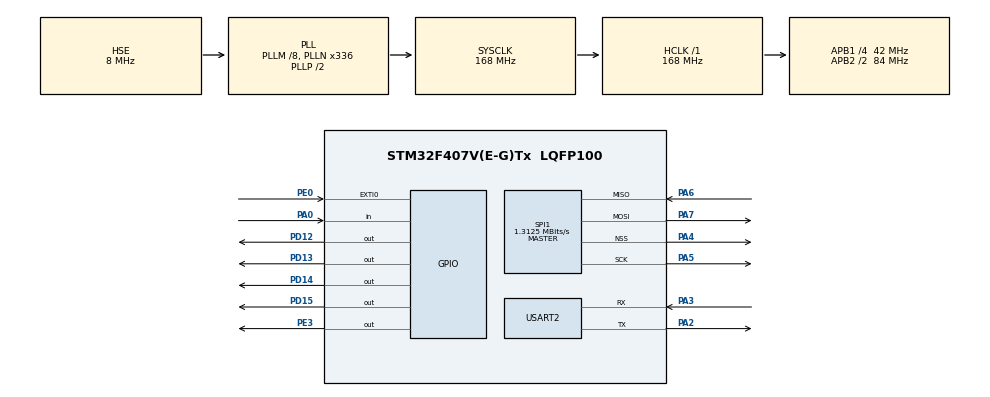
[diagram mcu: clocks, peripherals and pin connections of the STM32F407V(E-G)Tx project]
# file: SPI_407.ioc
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Dma.Request0=SPI1_RX
Dma.Request1=SPI1_TX
Dma.SPI1_RX.0.Direction=DMA_PERIPH_TO_MEMORY
Dma.SPI1_RX.0.FIFOMode=DMA_FIFOMODE_DISABLE
Dma.SPI1_RX.0.Instance=DMA2_Stream0
Dma.SPI1_RX.0.MemDataAlignment=DMA_MDATAALIGN_BYTE
Dma.SPI1_RX.0.MemInc=DMA_MINC_ENABLE
Dma.SPI1_RX.0.Mode=DMA_NORMAL
Dma.SPI1_RX.0.PeriphDataAlignment=DMA_PDATAALIGN_BYTE
Dma.SPI1_RX.0.PeriphInc=DMA_PINC_DISABLE
Dma.SPI1_RX.0.Priority=DMA_PRIORITY_LOW
Dma.SPI1_TX.1.Direction=DMA_MEMORY_TO_PERIPH
Dma.SPI1_TX.1.FIFOMode=DMA_FIFOMODE_DISABLE
Dma.SPI1_TX.1.Instance=DMA2_Stream3
Dma.SPI1_TX.1.MemDataAlignment=DMA_MDATAALIGN_BYTE
Dma.SPI1_TX.1.MemInc=DMA_MINC_ENABLE
Dma.SPI1_TX.1.Mode=DMA_NORMAL
Dma.SPI1_TX.1.PeriphDataAlignment=DMA_PDATAALIGN_BYTE
Dma.SPI1_TX.1.PeriphInc=DMA_PINC_DISABLE
Dma.SPI1_TX.1.Priority=DMA_PRIORITY_LOW
Mcu.Family=STM32F4
Mcu.Name=STM32F407V(E-G)Tx
Mcu.Package=LQFP100
NVIC.DMA2_Stream0_IRQn=true\:0\:0\:false\:false\:true\:false\:true
NVIC.DMA2_Stream3_IRQn=true\:0\:0\:false\:false\:true\:false\:true
NVIC.EXTI0_IRQn=true\:0\:0\:false\:false\:true\:true\:true
NVIC.PriorityGroup=NVIC_PRIORITYGROUP_0
NVIC.SPI1_IRQn=true\:0\:0\:false\:false\:true\:true\:true
NVIC.TIM1_UP_TIM10_IRQn=true\:0\:0\:false\:false\:true\:false\:true
NVIC.TIM6_DAC_IRQn=true\:0\:0\:false\:false\:true\:true\:true
NVIC.TimeBase=TIM1_UP_TIM10_IRQn
NVIC.TimeBaseIP=TIM1
PA0-WKUP.Signal=GPIO_Input
PA13.Mode=Serial_Wire
PA13.Signal=SYS_JTMS-SWDIO
PA14.Mode=Serial_Wire
PA14.Signal=SYS_JTCK-SWCLK
PA2.Mode=Asynchronous
PA2.Signal=USART2_TX
PA3.Mode=Asynchronous
PA3.Signal=USART2_RX
PA4.Mode=NSS_Signal_Hard_Output
PA4.Signal=SPI1_NSS
PA5.Mode=Full_Duplex_Master
PA5.Signal=SPI1_SCK
PA6.Mode=Full_Duplex_Master
PA6.Signal=SPI1_MISO
PA7.Mode=Full_Duplex_Master
PA7.Signal=SPI1_MOSI
PD12.Signal=GPIO_Output
PD13.Signal=GPIO_Output
PD14.Signal=GPIO_Output
PD15.Signal=GPIO_Output
PE0.Signal=GPXTI0
PE3.PinState=GPIO_PIN_SET
PE3.Signal=GPIO_Output
PH0-OSC_IN.Mode=HSE-External-Clock-Source
PH0-OSC_IN.Signal=RCC_OSC_IN
PH1-OSC_OUT.Mode=HSE-External-Clock-Source
PH1-OSC_OUT.Signal=RCC_OSC_OUT
ProjectManager.HeapSize=0x200
ProjectManager.StackSize=0x400
ProjectManager.TargetToolchain=STM32CubeIDE
RCC.48MHZClocksFreq_Value=48000000
RCC.AHBFreq_Value=168000000
RCC.APB1CLKDivider=RCC_HCLK_DIV4
RCC.APB1Freq_Value=42000000
RCC.APB1TimFreq_Value=84000000
RCC.APB2CLKDivider=RCC_HCLK_DIV2
RCC.APB2Freq_Value=84000000
RCC.APB2TimFreq_Value=168000000
RCC.CortexFreq_Value=168000000
RCC.HCLKFreq_Value=168000000
RCC.HSE_VALUE=8000000
RCC.HSI_VALUE=16000000
RCC.LSE_VALUE=32768
RCC.PLLM=8
RCC.PLLN=336
RCC.PLLQ=7
RCC.PLLSourceVirtual=RCC_PLLSOURCE_HSE
RCC.SYSCLKFreq_VALUE=168000000
RCC.SYSCLKSource=RCC_SYSCLKSOURCE_PLLCLK
RCC.VCOOutputFreq_Value=336000000
SPI1.BaudRatePrescaler=SPI_BAUDRATEPRESCALER_64
SPI1.CalculateBaudRate=1.3125 MBits/s
SPI1.Direction=SPI_DIRECTION_2LINES
SPI1.Mode=SPI_MODE_MASTER
SPI1.VirtualNSS=VM_NSSHARD
SPI1.VirtualType=VM_MASTER
TIM6.AutoReloadPreload=TIM_AUTORELOAD_PRELOAD_ENABLE
TIM6.Prescaler=84
USART2.VirtualMode=VM_ASYNC
VP_SYS_VS_tim1.Mode=TIM1
VP_TIM6_VS_ClockSourceINT.Mode=Enable_Timer
board=STM32F407G-DISC1

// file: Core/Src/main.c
/* USER CODE BEGIN Header */
/**
  ******************************************************************************
  * @file           : main.c
  * @brief          : Main program body
  ******************************************************************************
  * @attention
  *
  * <h2><center>&copy; Copyright (c) 2022 STMicroelectronics.
  * All rights reserved.</center></h2>
  *
  * This software component is licensed by ST under Ultimate Liberty license
  * SLA0044, the "License"; You may not use this file except in compliance with
  * the License. You may obtain a copy of the License at:
  *                             www.st.com/SLA0044
  *
  ******************************************************************************
  */
/* USER CODE END Header */
#include "main.h"

/* USER CODE BEGIN Includes */
#include <stdio.h>
/* USER CODE END Includes */

/* USER CODE BEGIN PD */
#ifdef __GNUC__

 #define PUTCHAR_PROTOTYPE int __io_putchar(int ch)
 #define GETCHAR_PROTOTYPE int __io_getchar(void)
#else
  #define PUTCHAR_PROTOTYPE int fputc(int ch, FILE *f)
  #define GETCHAR_PROTOTYPE int fgetc(FILE *f)
#endif /* __GNUC__ */
/* USER CODE END PD */

SPI_HandleTypeDef hspi1;
DMA_HandleTypeDef hdma_spi1_rx;
DMA_HandleTypeDef hdma_spi1_tx;

TIM_HandleTypeDef htim6;

UART_HandleTypeDef huart2;

void SystemClock_Config(void);
static void MX_GPIO_Init(void);
static void MX_DMA_Init(void);
static void MX_SPI1_Init(void);
static void MX_USART2_UART_Init(void);
static void MX_TIM6_Init(void);
/* USER CODE BEGIN PFP */
void receive_sensor(void);
/* USER CODE END PFP */

/* USER CODE BEGIN 0 */
//uint8_t Tx_buff[8]={1,2,3,4,5,6,7,8};
//uint8_t Rx_buff[8];
uint8_t Tx_buff[4];
uint8_t Rx_buff[5],prev=0,count=0;
/* USER CODE END 0 */

int main(void)
{

  /* MCU Configuration--------------------------------------------------------*/

  /* Reset of all peripherals, Initializes the Flash interface and the Systick. */
  HAL_Init();

  /* Configure the system clock */
  SystemClock_Config();

  /* Initialize all configured peripherals */
  MX_GPIO_Init();
  MX_DMA_Init();
  MX_SPI1_Init();
  MX_USART2_UART_Init();
  MX_TIM6_Init();

  HAL_TIM_Base_Start_IT(&htim6);
  /* USER CODE BEGIN 2 */
  //*******************************TRANSMIT*****************************************
  //1. bring slave select to low
  HAL_GPIO_WritePin(GPIOE, GPIO_PIN_3, GPIO_PIN_RESET);

  //2. set transmit register and data (to enable accelerometer x-axis and output data to 3Hz)
  	  Tx_buff[0]=0x20; //transmit register
  	  Tx_buff[1]=0x17; //Data

  //3. transmit
  	  HAL_SPI_Transmit_IT(&hspi1, Tx_buff, 2);

//  	 //*******************************RECEIVE*****************************************
//  	//1. SS to low
//  		HAL_GPIO_WritePin(GPIOE, GPIO_PIN_3, GPIO_PIN_RESET);
//
//  		//2. set register value to read mode
//  		Tx_buff[0]=0x29|0x80; //to set MSB bit to high read mode
//
//  		//3. transmit
//  		HAL_SPI_Transmit(&hspi1, Tx_buff, 1, 50);
//
//  		//4. Receive
//  		HAL_SPI_Receive(&hspi1, Rx_buff, 1, 50); // as in this case its only 1byte register
//  		//HAL_SPI_Receive_IT(&hspi1, Rx_buff, 1);
//
//  		//5. SS to high
//  		HAL_GPIO_WritePin(GPIOE, GPIO_PIN_3, GPIO_PIN_SET);
  /* USER CODE END 2 */

  /* Infinite loop */
  /* USER CODE BEGIN WHILE */
  while (1)
  {
	  if(count==16)
	  		{
	  			printf("X: %4d     Y: %4d    Z: %4d\r\n",Rx_buff[0],Rx_buff[2],Rx_buff[4]);
	  			HAL_GPIO_TogglePin(GPIOD, GPIO_PIN_14);
	  			count=0;
	  		}
    /* USER CODE END WHILE */

  }
}

void SystemClock_Config(void)
{
  RCC_OscInitTypeDef RCC_OscInitStruct = {0};
  RCC_ClkInitTypeDef RCC_ClkInitStruct = {0};

  /** Configure the main internal regulator output voltage
  */
  __HAL_RCC_PWR_CLK_ENABLE();
  __HAL_PWR_VOLTAGESCALING_CONFIG(PWR_REGULATOR_VOLTAGE_SCALE1);
  /** Initializes the RCC Oscillators according to the specified parameters
  * in the RCC_OscInitTypeDef structure.
  */
  RCC_OscInitStruct.OscillatorType = RCC_OSCILLATORTYPE_HSE;
  RCC_OscInitStruct.HSEState = RCC_HSE_BYPASS;
  RCC_OscInitStruct.PLL.PLLState = RCC_PLL_ON;
  RCC_OscInitStruct.PLL.PLLSource = RCC_PLLSOURCE_HSE;
  RCC_OscInitStruct.PLL.PLLM = 8;
  RCC_OscInitStruct.PLL.PLLN = 336;
  RCC_OscInitStruct.PLL.PLLP = RCC_PLLP_DIV2;
  RCC_OscInitStruct.PLL.PLLQ = 7;
  if (HAL_RCC_OscConfig(&RCC_OscInitStruct) != HAL_OK)
  {
    Error_Handler();
  }
  /** Initializes the CPU, AHB and APB buses clocks
  */
  RCC_ClkInitStruct.ClockType = RCC_CLOCKTYPE_HCLK|RCC_CLOCKTYPE_SYSCLK
                              |RCC_CLOCKTYPE_PCLK1|RCC_CLOCKTYPE_PCLK2;
  RCC_ClkInitStruct.SYSCLKSource = RCC_SYSCLKSOURCE_PLLCLK;
  RCC_ClkInitStruct.AHBCLKDivider = RCC_SYSCLK_DIV1;
  RCC_ClkInitStruct.APB1CLKDivider = RCC_HCLK_DIV4;
  RCC_ClkInitStruct.APB2CLKDivider = RCC_HCLK_DIV2;

  if (HAL_RCC_ClockConfig(&RCC_ClkInitStruct, FLASH_LATENCY_5) != HAL_OK)
  {
    Error_Handler();
  }
}

static void MX_SPI1_Init(void)
{

  /* SPI1 parameter configuration*/
  hspi1.Instance = SPI1;
  hspi1.Init.Mode = SPI_MODE_MASTER;
  hspi1.Init.Direction = SPI_DIRECTION_2LINES;
  hspi1.Init.DataSize = SPI_DATASIZE_8BIT;
  hspi1.Init.CLKPolarity = SPI_POLARITY_LOW;
  hspi1.Init.CLKPhase = SPI_PHASE_1EDGE;
  hspi1.Init.NSS = SPI_NSS_HARD_OUTPUT;
  hspi1.Init.BaudRatePrescaler = SPI_BAUDRATEPRESCALER_64;
  hspi1.Init.FirstBit = SPI_FIRSTBIT_MSB;
  hspi1.Init.TIMode = SPI_TIMODE_DISABLE;
  hspi1.Init.CRCCalculation = SPI_CRCCALCULATION_DISABLE;
  hspi1.Init.CRCPolynomial = 10;
  if (HAL_SPI_Init(&hspi1) != HAL_OK)
  {
    Error_Handler();
  }

}

static void MX_TIM6_Init(void)
{

  TIM_MasterConfigTypeDef sMasterConfig = {0};

  htim6.Instance = TIM6;
  htim6.Init.Prescaler = 84;
  htim6.Init.CounterMode = TIM_COUNTERMODE_UP;
  htim6.Init.Period = 65535;
  htim6.Init.AutoReloadPreload = TIM_AUTORELOAD_PRELOAD_ENABLE;
  if (HAL_TIM_Base_Init(&htim6) != HAL_OK)
  {
    Error_Handler();
  }
  sMasterConfig.MasterOutputTrigger = TIM_TRGO_RESET;
  sMasterConfig.MasterSlaveMode = TIM_MASTERSLAVEMODE_DISABLE;
  if (HAL_TIMEx_MasterConfigSynchronization(&htim6, &sMasterConfig) != HAL_OK)
  {
    Error_Handler();
  }

}

static void MX_USART2_UART_Init(void)
{

  huart2.Instance = USART2;
  huart2.Init.BaudRate = 115200;
  huart2.Init.WordLength = UART_WORDLENGTH_8B;
  huart2.Init.StopBits = UART_STOPBITS_1;
  huart2.Init.Parity = UART_PARITY_NONE;
  huart2.Init.Mode = UART_MODE_TX_RX;
  huart2.Init.HwFlowCtl = UART_HWCONTROL_NONE;
  huart2.Init.OverSampling = UART_OVERSAMPLING_16;
  if (HAL_UART_Init(&huart2) != HAL_OK)
  {
    Error_Handler();
  }

}

static void MX_DMA_Init(void)
{

  /* DMA controller clock enable */
  __HAL_RCC_DMA2_CLK_ENABLE();

  /* DMA interrupt init */
  /* DMA2_Stream0_IRQn interrupt configuration */
  HAL_NVIC_SetPriority(DMA2_Stream0_IRQn, 0, 0);
  HAL_NVIC_EnableIRQ(DMA2_Stream0_IRQn);
  /* DMA2_Stream3_IRQn interrupt configuration */
  HAL_NVIC_SetPriority(DMA2_Stream3_IRQn, 0, 0);
  HAL_NVIC_EnableIRQ(DMA2_Stream3_IRQn);

}

static void MX_GPIO_Init(void)
{
  GPIO_InitTypeDef GPIO_InitStruct = {0};

  /* GPIO Ports Clock Enable */
  __HAL_RCC_GPIOE_CLK_ENABLE();
  __HAL_RCC_GPIOH_CLK_ENABLE();
  __HAL_RCC_GPIOA_CLK_ENABLE();
  __HAL_RCC_GPIOD_CLK_ENABLE();

  /*Configure GPIO pin Output Level */
  HAL_GPIO_WritePin(GPIOE, GPIO_PIN_3, GPIO_PIN_SET);

  /*Configure GPIO pin Output Level */
  HAL_GPIO_WritePin(GPIOD, GPIO_PIN_12|GPIO_PIN_13|GPIO_PIN_14|GPIO_PIN_15, GPIO_PIN_RESET);

  /*Configure GPIO pin : PE3 */
  GPIO_InitStruct.Pin = GPIO_PIN_3;
  GPIO_InitStruct.Mode = GPIO_MODE_OUTPUT_PP;
  GPIO_InitStruct.Pull = GPIO_NOPULL;
  GPIO_InitStruct.Speed = GPIO_SPEED_FREQ_LOW;
  HAL_GPIO_Init(GPIOE, &GPIO_InitStruct);

  /*Configure GPIO pin : PA0 */
  GPIO_InitStruct.Pin = GPIO_PIN_0;
  GPIO_InitStruct.Mode = GPIO_MODE_INPUT;
  GPIO_InitStruct.Pull = GPIO_NOPULL;
  HAL_GPIO_Init(GPIOA, &GPIO_InitStruct);

  /*Configure GPIO pins : PD12 PD13 PD14 PD15 */
  GPIO_InitStruct.Pin = GPIO_PIN_12|GPIO_PIN_13|GPIO_PIN_14|GPIO_PIN_15;
  GPIO_InitStruct.Mode = GPIO_MODE_OUTPUT_PP;
  GPIO_InitStruct.Pull = GPIO_NOPULL;
  GPIO_InitStruct.Speed = GPIO_SPEED_FREQ_LOW;
  HAL_GPIO_Init(GPIOD, &GPIO_InitStruct);

  /*Configure GPIO pin : PE0 */
  GPIO_InitStruct.Pin = GPIO_PIN_0;
  GPIO_InitStruct.Mode = GPIO_MODE_IT_RISING;
  GPIO_InitStruct.Pull = GPIO_NOPULL;
  HAL_GPIO_Init(GPIOE, &GPIO_InitStruct);

  /* EXTI interrupt init*/
  HAL_NVIC_SetPriority(EXTI0_IRQn, 0, 0);
  HAL_NVIC_EnableIRQ(EXTI0_IRQn);

}

/* USER CODE BEGIN 4 */
void receive_sensor(void)
{
	//1. SS to low
	HAL_GPIO_WritePin(GPIOE, GPIO_PIN_3, GPIO_PIN_RESET);

	//2. set register value to read mode
	Tx_buff[0]=0x29|0x80; //to set MSB bit to high read mode
	//Tx_buff[1]=0x2B|0x80; //to set MSB bit to high read mode
	//Tx_buff[2]=0x2D|0x80; //to set MSB bit to high read mode

	//3. transmit
	HAL_SPI_Transmit(&hspi1, Tx_buff, 3, 50);

	//4. Receive
	HAL_SPI_Receive_IT(&hspi1, Rx_buff, 5);
	//	HAL_SPI_Receive_IT(&hspi1, Rx_buff, 1); // as in this case its only 1byte register

}
void HAL_SPI_RxCpltCallback(SPI_HandleTypeDef *hspi)
{
	//5. SS to high
		HAL_GPIO_WritePin(GPIOE, GPIO_PIN_3, GPIO_PIN_SET);
		receive_sensor();
}

void HAL_SPI_TxCpltCallback(SPI_HandleTypeDef *hspi)
{
  //4. bring slave select pin to High
	  	HAL_GPIO_WritePin(GPIOE, GPIO_PIN_3, GPIO_PIN_SET);
	  	receive_sensor();
}

//void HAL_GPIO_EXTI_Callback(uint16_t GPIO_Pin)
//{
//}

PUTCHAR_PROTOTYPE
{

  HAL_UART_Transmit(&huart2, (uint8_t *)&ch, 1, HAL_MAX_DELAY);

  return ch;
}

GETCHAR_PROTOTYPE
{
	uint8_t ch = 0;

	  /* Clear the Overrun flag just before receiving the first character */
	__HAL_UART_CLEAR_OREFLAG(&huart2);

  HAL_UART_Receive(&huart2, (uint8_t *)&ch, 1, HAL_MAX_DELAY);

  return ch;
}
/* USER CODE END 4 */

void HAL_TIM_PeriodElapsedCallback(TIM_HandleTypeDef *htim)
{
  if (htim->Instance == TIM1) {
    HAL_IncTick();
  }

  if(htim->Instance == TIM6) {
	  	  count++;
	  }
}

void Error_Handler(void)
{
  __disable_irq();
  while (1)
  {
  }
}

/************************ (C) COPYRIGHT STMicroelectronics *****END OF FILE****/
